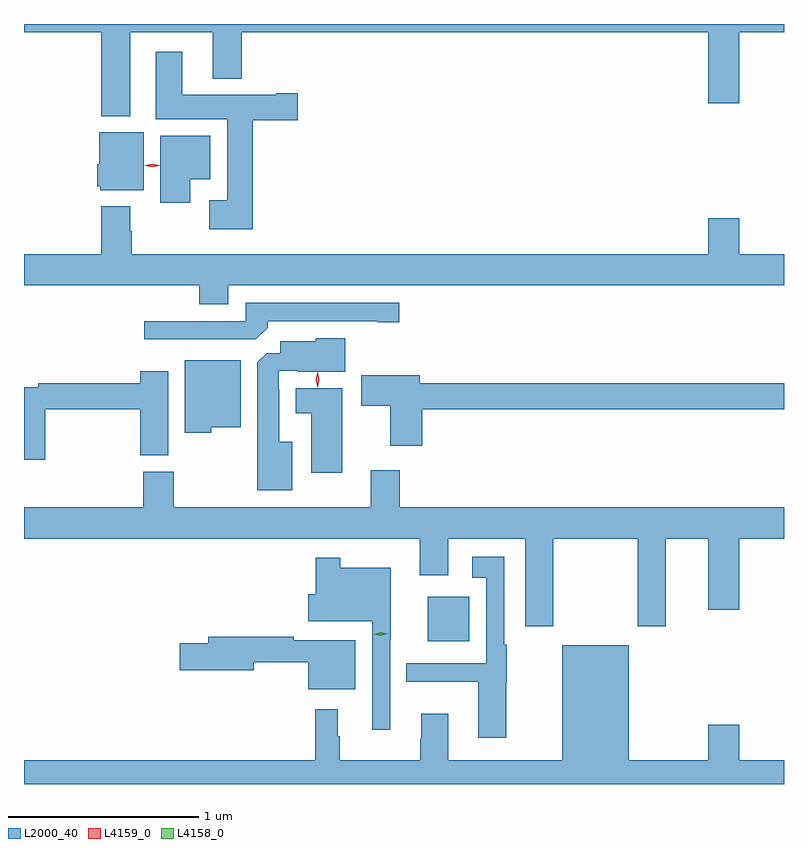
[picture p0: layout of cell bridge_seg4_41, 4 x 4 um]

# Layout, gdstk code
import gdstk
lib = gdstk.Library(unit=1e-6, precision=1e-09)
def R(c, l, rs):  # rectangles x0, y0, x1, y1
    for r in rs: c.add(gdstk.rectangle(r[:2], r[2:], *l))
def P(c, l, *ps):  # polygons
    for p in ps: c.add(gdstk.Polygon(p, *l))
L2000_40 = (2000, 40)
L4158_0 = (4158, 0)
L4159_0 = (4159, 0)

bridge_seg4_41 = lib.new_cell('bridge_seg4_41')
R(bridge_seg4_41, L2000_40, [(679.016,828.248,679.234,828.481)])
P(bridge_seg4_41, L2000_40, [(677.449,831.452),(677.885,831.452),(677.885,831.209),(678.038,831.209),(678.038,831.452),(680.492,831.452),(680.492,831.078),(680.656,831.078),(680.656,831.452),(680.891,831.452),(680.891,831.496),(676.891,831.496),(676.891,831.452),(677.297,831.452),(677.297,831.011),(677.449,831.011)],
  [(678.095,830.99),(678.331,830.99),(678.331,831.132),(678.218,831.132),(678.218,831.124),(677.725,831.124),(677.725,831.349),(677.585,831.349),(677.585,830.996),(677.96,830.996),(677.96,830.569),(677.865,830.569),(677.865,830.417),(678.095,830.417)],
  [(677.521,830.926),(677.288,830.926),(677.288,830.757),(677.276,830.757),(677.276,830.643),(677.292,830.643),(677.292,830.621),(677.521,830.621)],
  [(677.767,830.678),(677.872,830.678),(677.872,830.908),(677.609,830.908),(677.609,830.556),(677.767,830.556)],
  [(677.965,830.12),(680.891,830.12),(680.891,830.284),(680.656,830.284),(680.656,830.473),(680.492,830.473),(680.492,830.284),(677.457,830.284),(677.457,830.405),(677.449,830.405),(677.449,830.536),(677.297,830.536),(677.297,830.284),(676.891,830.284),(676.891,830.12),(677.813,830.12),(677.813,830.021),(677.965,830.021)],
  [(678.173,829.898),(678.173,829.932),(678.752,829.932),(678.752,829.927),(678.865,829.927),(678.865,830.028),(678.057,830.028),(678.057,829.932),(677.523,829.932),(677.523,829.836),(678.111,829.836)],
  [(678.304,829.297),(678.235,829.297),(678.235,829.571),(678.231,829.571),(678.231,829.671),(678.331,829.671),(678.331,829.667),(678.583,829.667),(678.583,829.843),(678.426,829.843),(678.426,829.825),(678.239,829.825),(678.239,829.764),(678.168,829.764),(678.119,829.715),(678.119,829.043),(678.304,829.043)],
  [(677.877,829.373),(678.031,829.373),(678.031,829.726),(677.738,829.726),(677.738,829.346),(677.877,829.346)],
  [(677.003,829.468),(677.504,829.468),(677.504,829.225),(677.65,829.225),(677.65,829.669),(677.504,829.669),(677.504,829.604),(676.966,829.604),(676.966,829.584),(676.891,829.584),(676.891,829.203),(677.003,829.203)],
  [(678.986,829.468),(680.891,829.468),(680.891,829.604),(678.973,829.604),(678.973,829.648),(678.666,829.648),(678.666,829.486),(678.818,829.486),(678.818,829.275),(678.986,829.275)],
  [(678.565,829.579),(678.32,829.579),(678.32,829.448),(678.404,829.448),(678.404,829.134),(678.565,829.134)],
  [(678.869,829.147),(678.716,829.147),(678.716,828.952),(677.679,828.952),(677.679,829.14),(677.519,829.14),(677.519,828.952),(676.891,828.952),(676.891,828.788),(678.974,828.788),(678.974,828.594),(679.123,828.594),(679.123,828.788),(679.529,828.788),(679.529,828.327),(679.677,828.327),(679.677,828.788),(680.122,828.788),(680.122,828.327),(680.269,828.327),(680.269,828.788),(680.492,828.788),(680.492,828.414),(680.656,828.414),(680.656,828.788),(680.891,828.788),(680.891,828.952),(678.869,828.952)],
  [(679.428,828.029),(679.432,828.029),(679.432,828.229),(679.419,828.229),(679.419,828.691),(679.251,828.691),(679.251,828.581),(679.323,828.581),(679.323,828.132),(678.904,828.132),(678.904,828.035),(679.283,828.035),(679.283,827.739),(679.428,827.739)],
  [(678.819,828.257),(678.821,828.257),(678.821,828.634),(678.556,828.634),(678.556,828.688),(678.427,828.688),(678.427,828.495),(678.386,828.495),(678.386,828.353),(678.723,828.353),(678.723,827.781),(678.819,827.781)],
  [(678.634,828.252),(678.31,828.252),(678.31,828.272),(677.861,828.272),(677.861,828.236),(677.712,828.236),(677.712,828.094),(678.1,828.094),(678.1,828.136),(678.386,828.136),(678.386,827.996),(678.634,827.996)],
  [(680.891,827.62),(680.656,827.62),(680.656,827.809),(680.492,827.809),(680.492,827.62),(680.074,827.62),(680.074,828.226),(679.724,828.226),(679.724,827.62),(679.123,827.62),(679.123,827.866),(678.983,827.866),(678.983,827.735),(678.976,827.735),(678.976,827.62),(678.553,827.62),(678.553,827.747),(678.542,827.747),(678.542,827.89),(678.424,827.89),(678.424,827.62),(676.891,827.62),(676.891,827.496),(680.891,827.496)])
P(bridge_seg4_41, L4158_0, [(678.769,828.275),(678.733,828.284),(678.733,828.284),(678.733,828.284),(678.768,828.295),(678.804,828.287),(678.804,828.287),(678.804,828.286)])
P(bridge_seg4_41, L4159_0, [(678.436,829.582),(678.436,829.582),(678.426,829.623),(678.436,829.664),(678.436,829.664),(678.436,829.664),(678.446,829.623),(678.436,829.582)],
  [(677.565,830.741),(677.528,830.751),(677.528,830.751),(677.528,830.752),(677.565,830.761),(677.602,830.752),(677.602,830.751),(677.602,830.751)])

lib.write_gds('bridge_seg4_41.gds')
